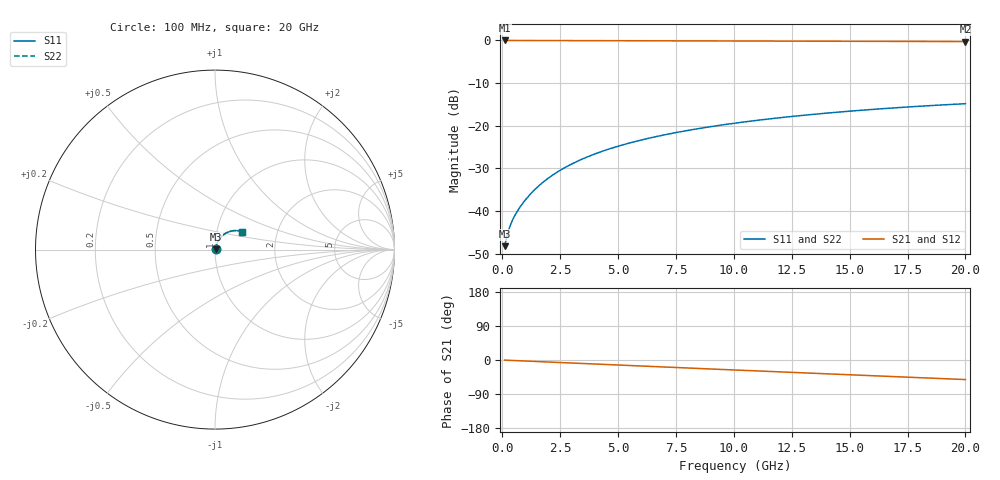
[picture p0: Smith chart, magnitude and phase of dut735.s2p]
! Touchstone file exported from HFSS 2026.1.0
!  File:  C:/ffzhzh/LocalFiles/Ansys_Project_Files/temp_train_BSMRDL_735_1783168591_18472.aedt
!  Generated:  08:37:37 PM Jul  4, 2026
!  Design:  BSMRDL
!  Project:  temp_train_BSMRDL_735_1783168591_18472
! Variables:
!  h_bsmrdl = 3.39um
!  h_ox = 20um
!  h_rdl = 5um
!  h_sub = 80um
!  h_tmrdl = 5um
!  h_tsv = 80um
!  h_via = 3um
!  l_bsmrdl = 887.28um
!  l_sub = 1287.28um
!  l_tmrdl = 200um
!  m_sub = 200um
!  pitch = 39.49um
!  r_tsv = 6um
!  s_tmrdl = 10um
!  w_bsmrdl = 29.86um
!  w_sub = 500um
!  w_tmrdl = 12um
!  x_tsv_center1 = 206um
!  x_tsv_center2 = 1123.14um
!  x_tsv_center3 = 1335.14um
!  x_tsv_center4 = 2252.28um
!  x_tsv_center5 = 2464.28um
!  x_tsv_center6 = 3381.42um
# GHz S MA R 50.000000
! Terminal data exported
! Port[1] = BSM_RDL1_1_T1
! Port[2] = BSM_RDL1_1_T2
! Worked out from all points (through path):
!   200 points, 100 MHz to 20 GHz, reference 50 ohm
!   highest |S21| = -0.03 dB at 100 MHz (marker M1); lowest = -0.3 dB at 20 GHz (marker M2)
!   group delay of S21, straight-line fit = 7.15 ps
!   lowest |S11| = -48.2 dB at 100 MHz (marker M3), VSWR 1.01, Z = 50.3 + j0.178 ohm
!   |S11| at or under -10 dB: start of sweep to end of sweep
!   |S22| runs from -48.2 to -14.8 dB; largest |S21 - S12| = 2.7e-15
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0.1  0.003891 27.0  0.9965 -0.3  0.9965 -0.3  0.003891 27.0
! Gamma 0 0 0 0
! Port Impedance 50 0 50 0
0.2  0.005098 40.3  0.9961 -0.6  0.9961 -0.6  0.005097 40.3
0.3  0.00631 46.6  0.9957 -0.9  0.9957 -0.9  0.006308 46.6
0.4  0.007419 50.6  0.9954 -1.1  0.9954 -1.1  0.007416 50.6
0.5  0.008461 53.7  0.9952 -1.4  0.9952 -1.4  0.008457 53.7
0.6  0.009474 56.3  0.995 -1.7  0.995 -1.7  0.00947 56.4
0.8  0.0115 60.6  0.9947 -2.2  0.9947 -2.2  0.0115 60.6
1  0.01358 63.7  0.9946 -2.7  0.9946 -2.7  0.01357 63.8
1.2  0.0157 66.1  0.9944 -3.2  0.9944 -3.2  0.0157 66.1
1.7  0.02117 69.5  0.9941 -4.6  0.9941 -4.6  0.02116 69.5
2.2  0.02674 71.0  0.9936 -5.9  0.9936 -5.9  0.02674 71.0
2.8  0.03346 71.4  0.9931 -7.5  0.9931 -7.5  0.03345 71.4
3.5  0.04125 71.0  0.9923 -9.4  0.9923 -9.4  0.04124 71.0
4.2  0.04894 70.0  0.9914 -11.2  0.9914 -11.2  0.04893 70.0
5  0.05756 68.5  0.9902 -13.3  0.9902 -13.3  0.05755 68.6
5.9  0.06703 66.7  0.9888 -15.7  0.9888 -15.7  0.06701 66.7
6.8  0.07622 64.7  0.9874 -18.0  0.9874 -18.0  0.07621 64.7
8.3  0.09096 61.2  0.9849 -21.9  0.9849 -21.9  0.09093 61.3
10.1  0.1077 57.0  0.9819 -26.5  0.9819 -26.5  0.1077 57.1
13.4  0.1357 49.1  0.9764 -35.0  0.9764 -35.0  0.1357 49.3
16.7  0.1604 41.3  0.9713 -43.3  0.9713 -43.3  0.1603 41.5
20  0.1812 33.4  0.9665 -51.6  0.9665 -51.6  0.1811 33.7
